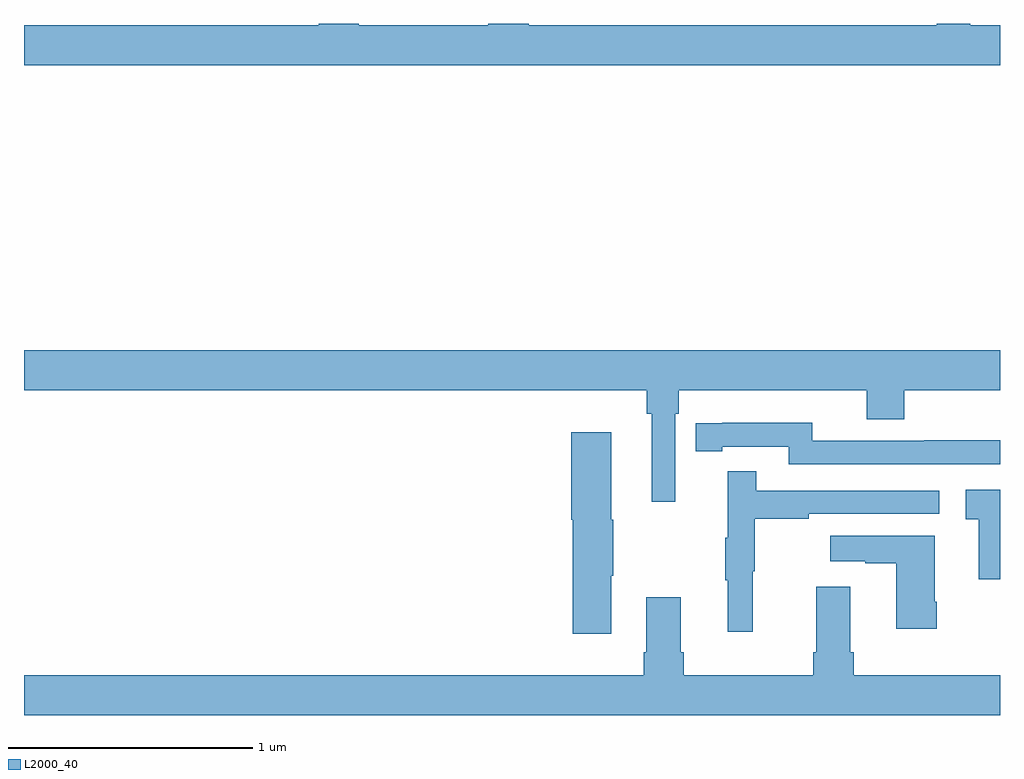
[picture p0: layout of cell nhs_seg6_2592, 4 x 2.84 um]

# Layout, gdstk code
import gdstk
lib = gdstk.Library(unit=1e-6, precision=1e-09)
def P(c, l, *ps):  # polygons
    for p in ps: c.add(gdstk.Polygon(p, *l))
L2000_40 = (2000, 40)

nhs_seg6_2592 = lib.new_cell('nhs_seg6_2592')
P(nhs_seg6_2592, L2000_40, [(269,955.492),(268.879,955.492),(268.879,955.5),(268.74,955.5),(268.74,955.492),(267.068,955.492),(267.068,955.5),(266.903,955.5),(266.903,955.492),(266.372,955.492),(266.372,955.5),(266.207,955.5),(266.207,955.492),(265,955.492),(265,955.328),(269,955.328)],
  [(267.669,953.9),(267.683,953.9),(267.683,953.996),(268.454,953.996),(268.454,953.879),(268.607,953.879),(268.607,953.996),(269,953.996),(269,954.16),(265,954.16),(265,953.996),(267.553,953.996),(267.553,953.9),(267.572,953.9),(267.572,953.541),(267.669,953.541)],
  [(269,953.792),(268.69,953.792),(268.69,953.79),(268.23,953.79),(268.23,953.863),(267.862,953.863),(267.862,953.862),(267.754,953.862),(267.754,953.746),(267.862,953.746),(267.862,953.766),(268.134,953.766),(268.134,953.694),(269,953.694)],
  [(267.406,953.236),(267.414,953.236),(267.414,953.466),(267.406,953.466),(267.406,953.824),(267.242,953.824),(267.242,953.466),(267.248,953.466),(267.248,952.998),(267.406,952.998)],
  [(267.986,953.256),(267.994,953.256),(267.994,953.47),(268.217,953.47),(268.217,953.49),(268.75,953.49),(268.75,953.586),(268.001,953.586),(268.001,953.665),(267.884,953.665),(267.884,953.393),(267.873,953.393),(267.873,953.219),(267.884,953.219),(267.884,953.007),(267.986,953.007)],
  [(269,953.59),(268.86,953.59),(268.86,953.469),(268.913,953.469),(268.913,953.223),(269,953.223)],
  [(268.74,953.131),(268.732,953.131),(268.732,953.401),(268.305,953.401),(268.305,953.297),(268.448,953.297),(268.448,953.287),(268.574,953.287),(268.574,953.019),(268.74,953.019)],
  [(269,952.828),(268.4,952.828),(268.4,952.924),(268.387,952.924),(268.387,953.191),(268.247,953.191),(268.247,952.924),(268.235,952.924),(268.235,952.828),(267.704,952.828),(267.704,952.924),(267.691,952.924),(267.691,953.149),(267.551,953.149),(267.551,952.924),(267.539,952.924),(267.539,952.828),(265,952.828),(265,952.664),(269,952.664)])

lib.write_gds('nhs_seg6_2592.gds')
